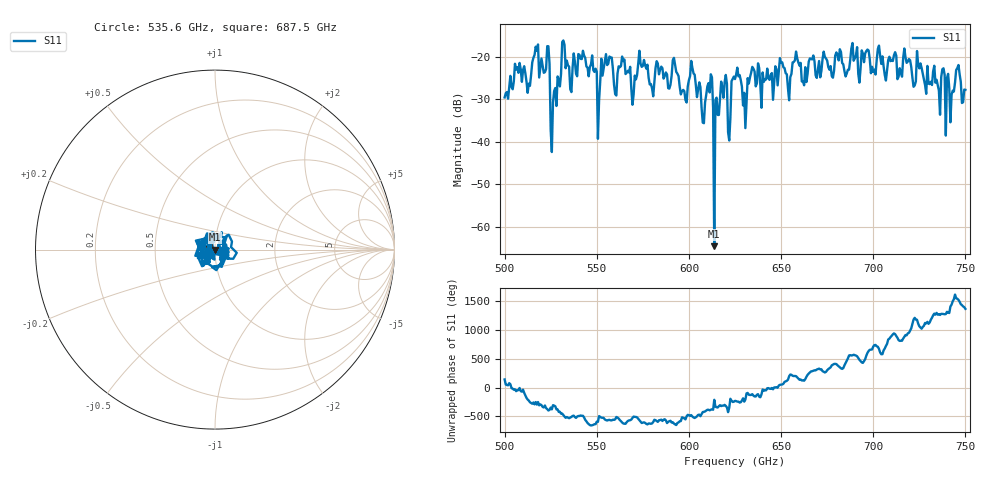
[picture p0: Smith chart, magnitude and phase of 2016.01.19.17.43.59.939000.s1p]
!Created with skrf (http://scikit-rf.org).
# GHz S RI R 50.0
!freq ReS11 ImS11
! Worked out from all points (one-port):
!   401 points, 500 GHz to 750 GHz, reference 50 ohm
!   lowest |S11| = -64.6 dB at 613.8 GHz (marker M1), VSWR 1.00, Z = 49.9 + j0.0305 ohm
!   |S11| at or under -10 dB: start of sweep to end of sweep
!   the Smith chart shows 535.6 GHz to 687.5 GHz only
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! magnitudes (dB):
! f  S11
! 500 GHz  -29.6
! 506.9 GHz  -22.4
! 513.1 GHz  -26.3
! 516.9 GHz  -17.6
! 523.1 GHz  -17.5
! 526.2 GHz  -30.8
! 531.2 GHz  -16.5
! 548.1 GHz  -23.2
! 550.6 GHz  -39.3
! 553.8 GHz  -22.8
! 562.5 GHz  -22.5
! 570 GHz  -28.9
! 574.4 GHz  -22.4
! 593.8 GHz  -24.0
! 597.5 GHz  -28.1
! 601.9 GHz  -22.6
! 608.1 GHz  -35.7
! 611.2 GHz  -28.4
! 613.8 GHz  -64.6
! 618.8 GHz  -29.7
! 622.5 GHz  -34.4
! 625 GHz  -25.3
! 630 GHz  -28.5
! 634.4 GHz  -22.4
! 656.2 GHz  -21.3
! 687.5 GHz  -20.8
! 718.8 GHz  -21.2
! 750 GHz  -27.8
